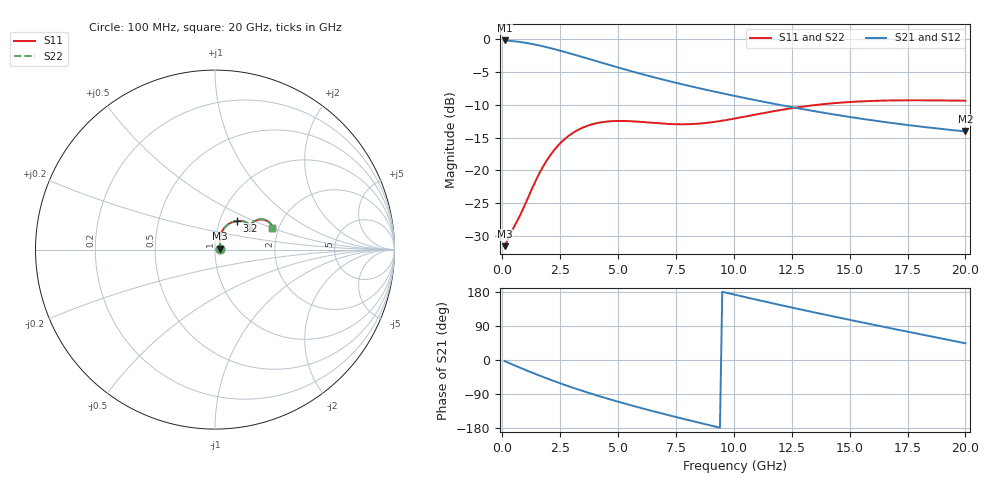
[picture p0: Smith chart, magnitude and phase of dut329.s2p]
! Touchstone file exported from HFSS 2024.1.0
!  File:  C:/UserFiles/LocalFiles/RDL_TSV_Batchsim/temp_RDL_TSV_329_1779631692.aedt
!  Generated:  10:26:53 PM May 24, 2026
!  Design:  RDL_TSV
!  Project:  temp_RDL_TSV_329_1779631692
!  Setup:  Setup1
!  Solution:  Sweep
! Variables:
!  dtsv = 10.61um
!  hbump = 3um
!  htsv = 72.55um
!  ldown = 688.21um
!  lrdl = 699.58um
!  p = 40
!  p1 = 56.22um
!  rhole = 10um
!  subl = 4862.95um
!  t = 450um
!  tdown = 3.91um
!  trdl = 2.25um
!  viad = 10um
!  wdown = 21.4um
!  wrdl = 26.21um
!  xbump = 18um
# GHz S MA R 50.000000
! Terminal data exported
! Port[1] = TM1_1_T1
! Port[2] = TM1_4_T1
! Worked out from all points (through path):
!   200 points, 100 MHz to 20 GHz, reference 50 ohm
!   highest |S21| = -0.23 dB at 100 MHz (marker M1); lowest = -14.1 dB at 20 GHz (marker M2)
!   group delay of S21, straight-line fit = 41.6 ps
!   lowest |S11| = -31.5 dB at 100 MHz (marker M3), VSWR 1.05, Z = 52.7 + j0.591 ohm
!   |S11| at or under -10 dB: start of sweep to 13.67 GHz
!   |S22| runs from -31.5 to -9.3 dB; largest |S21 - S12| = 8.8e-15
!   S11 on the Smith chart (normalised r, x): 100 MHz: 1.05, +0.01; 3.2 GHz: 1.20, +0.40; 20 GHz: 1.83, +0.51
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0.1  0.02652 12.2  0.9736 -2.8  0.9736 -2.8  0.02652 12.2
! Gamma 0 0 0 0
! Port Impedance 50 0 50 0
0.4  0.03428 35.0  0.965 -10.8  0.965 -10.8  0.03428 35.0
0.8  0.04676 54.0  0.9465 -21.2  0.9465 -21.2  0.04676 54.0
1.2  0.06726 65.8  0.9214 -31.2  0.9214 -31.2  0.06729 65.9
1.6  0.09485 69.2  0.8914 -40.9  0.8914 -40.9  0.09492 69.2
2  0.125 67.4  0.8581 -50.3  0.8581 -50.3  0.1251 67.5
2.4  0.1539 63.2  0.823 -59.3  0.823 -59.3  0.154 63.3
2.8  0.1794 58.1  0.7871 -67.9  0.7871 -67.9  0.1795 58.1
3.2  0.2002 52.8  0.7513 -76.2  0.7513 -76.2  0.2003 52.8
3.5  0.2125 49.0  0.725 -82.3  0.725 -82.3  0.2126 49.0
4.3  0.2325 39.9  0.6586 -97.5  0.6586 -97.5  0.2326 40.0
5.1  0.2378 33.3  0.5993 -111.8  0.5993 -111.8  0.2378 33.4
5.9  0.2345 29.4  0.5475 -125.2  0.5475 -125.2  0.2344 29.4
6.8  0.2277 28.0  0.4976 -139.7  0.4976 -139.7  0.2276 28.1
8.3  0.2257 30.9  0.4297 -162.5  0.4297 -162.5  0.2257 31.1
10.1  0.2492 35.2  0.3664 171.4  0.3664 171.4  0.2497 35.5
11.7  0.2817 35.3  0.3218 149.2  0.3218 149.2  0.2828 35.5
13.4  0.3124 32.4  0.2837 126.6  0.2837 126.6  0.314 32.6
15  0.3312 28.7  0.255 106.0  0.255 106.0  0.3331 28.9
16.7  0.3402 25.1  0.2309 84.7  0.2309 84.7  0.3424 25.2
18.4  0.3412 22.4  0.212 63.7  0.212 63.7  0.3435 22.5
20  0.3389 21.1  0.1978 44.1  0.1978 44.1  0.3411 21.1
